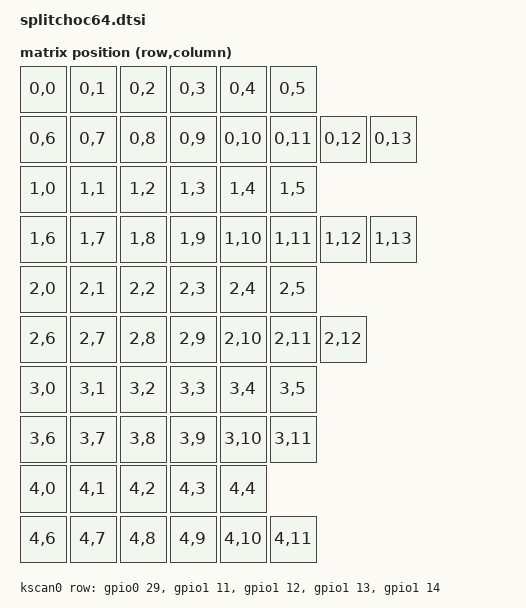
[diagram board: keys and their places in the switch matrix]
#include <dt-bindings/zmk/matrix_transform.h>
#include <zephyr/dt-bindings/gpio/gpio.h>
#include "splitchoc64-layouts.dtsi"

/ {
    kscan0: kscan0 {
        compatible = "zmk,kscan-gpio-matrix";
        diode-direction = "col2row";
        wakeup-source;

        /* Ver012 U1/U2:
         * ROW0=D3/P0.29
         * ROW1=D6/P1.11
         * ROW2=D7/P1.12
         * ROW3=D8/P1.13
         * ROW4=D9/P1.14
         */
        row-gpios
            = <&gpio0 29 (GPIO_ACTIVE_HIGH | GPIO_PULL_DOWN)>
            , <&gpio1 11 (GPIO_ACTIVE_HIGH | GPIO_PULL_DOWN)>
            , <&gpio1 12 (GPIO_ACTIVE_HIGH | GPIO_PULL_DOWN)>
            , <&gpio1 13 (GPIO_ACTIVE_HIGH | GPIO_PULL_DOWN)>
            , <&gpio1 14 (GPIO_ACTIVE_HIGH | GPIO_PULL_DOWN)>
            ;
    };

    default_transform: keymap_transform0 {
        compatible = "zmk,matrix-transform";
        rows = <5>;
        columns = <14>;

        /* Key order is exactly the user KLE, left-to-right / top-to-bottom.
         * Global columns 0..5 are LEFT.
         * Global columns 6..13 are RIGHT (right overlay col-offset=6).
         */
        map = <
            RC(0,0) RC(0,1) RC(0,2) RC(0,3) RC(0,4) RC(0,5)
            RC(0,6) RC(0,7) RC(0,8) RC(0,9) RC(0,10) RC(0,11) RC(0,12) RC(0,13)

            RC(1,0) RC(1,1) RC(1,2) RC(1,3) RC(1,4) RC(1,5)
            RC(1,6) RC(1,7) RC(1,8) RC(1,9) RC(1,10) RC(1,11) RC(1,12) RC(1,13)

            RC(2,0) RC(2,1) RC(2,2) RC(2,3) RC(2,4) RC(2,5)
            RC(2,6) RC(2,7) RC(2,8) RC(2,9) RC(2,10) RC(2,11) RC(2,12)

            RC(3,0) RC(3,1) RC(3,2) RC(3,3) RC(3,4) RC(3,5)
            RC(3,6) RC(3,7) RC(3,8) RC(3,9) RC(3,10) RC(3,11)

            RC(4,0) RC(4,1) RC(4,2) RC(4,3) RC(4,4)
            RC(4,6) RC(4,7) RC(4,8) RC(4,9) RC(4,10) RC(4,11)
        >;
    };


    joy_toggle: joy_toggle {
        compatible = "splitchoc64,behavior-joy-config";
        #binding-cells = <0>;
        command = <0>;
        display-name = "JOY On/Off";
    };

    joy_angle_inc: joy_angle_inc {
        compatible = "splitchoc64,behavior-joy-config";
        #binding-cells = <0>;
        command = <1>;
        display-name = "JOY Angle +5 deg";
    };

    joy_angle_dec: joy_angle_dec {
        compatible = "splitchoc64,behavior-joy-config";
        #binding-cells = <0>;
        command = <2>;
        display-name = "JOY Angle -5 deg";
    };

    joy_speed_inc: joy_speed_inc {
        compatible = "splitchoc64,behavior-joy-config";
        #binding-cells = <0>;
        command = <3>;
        display-name = "JOY Max Speed +";
    };

    joy_speed_dec: joy_speed_dec {
        compatible = "splitchoc64,behavior-joy-config";
        #binding-cells = <0>;
        command = <4>;
        display-name = "JOY Max Speed -";
    };

    joy_reset: joy_reset {
        compatible = "splitchoc64,behavior-joy-config";
        #binding-cells = <0>;
        command = <5>;
        display-name = "JOY Reset Defaults";
    };

    chosen {
        zmk,kscan = &kscan0;
        zmk,physical-layout = &default_layout;
    };
};

&default_layout {
    transform = <&default_transform>;
    kscan = <&kscan0>;
};
